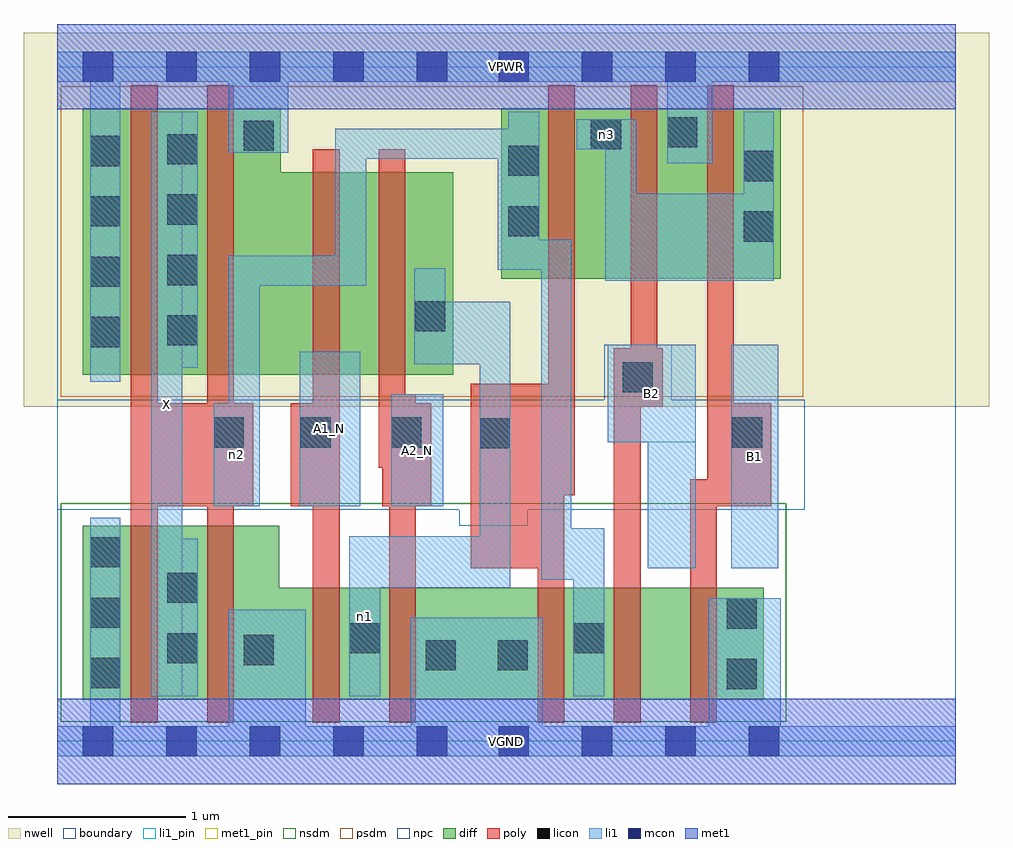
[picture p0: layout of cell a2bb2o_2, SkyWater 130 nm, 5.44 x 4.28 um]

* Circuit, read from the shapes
.subckt a2bb2o_2 A1_N A2_N B1 B2 VGND VPWR X n1 n2 n3
XM1 X n2 VGND VSUBS sky130_fd_pr__nfet_01v8 w=0.98 l=0.15 m=2
XM2 n1 A1_N VGND VSUBS sky130_fd_pr__nfet_01v8 w=0.63 l=0.15
XM3 VGND A2_N n1 VSUBS sky130_fd_pr__nfet_01v8 w=0.63 l=0.15
XM4 n2 n1 VGND VSUBS sky130_fd_pr__nfet_01v8 w=0.63 l=0.15
XM5 n4 B2 n2 VSUBS sky130_fd_pr__nfet_01v8 w=0.63 l=0.15
XM6 VGND B1 n4 VSUBS sky130_fd_pr__nfet_01v8 w=0.63 l=0.15
XM7 X n2 VPWR n5 sky130_fd_pr__pfet_01v8 w=1.5 l=0.15 m=2
XM8 n6 A1_N VPWR n5 sky130_fd_pr__pfet_01v8 w=1.14 l=0.15
XM9 n1 A2_N n6 n5 sky130_fd_pr__pfet_01v8 w=1.14 l=0.15
XM10 n3 n1 n2 n5 sky130_fd_pr__pfet_01v8 w=0.96 l=0.15
XM11 VPWR B2 n3 n5 sky130_fd_pr__pfet_01v8 w=0.96 l=0.15
XM12 n3 B1 VPWR n5 sky130_fd_pr__pfet_01v8 w=0.96 l=0.15
.ends

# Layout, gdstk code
import gdstk
lib = gdstk.Library(unit=1e-6, precision=1e-09)
def R(c, l, rs):  # rectangles x0, y0, x1, y1
    for r in rs: c.add(gdstk.rectangle(r[:2], r[2:], *l))
def A(c, l, x, y, w, h, nx, ny, dx, dy):  # array of equal rectangles
    R(c, l, [(x+i*dx, y+j*dy, x+i*dx+w, y+j*dy+h) for i in range(nx) for j in range(ny)])
nwell = (64, 20)
diff = (65, 20)
poly = (66, 20)
licon = (66, 44)
li1_pin = (67, 16)
li1 = (67, 20)
mcon = (67, 44)
met1_pin = (68, 16)
met1 = (68, 20)
nsdm = (93, 44)
psdm = (94, 20)
npc = (95, 20)
boundary = (235, 4)

a2bb2o_2 = lib.new_cell('a2bb2o_2')
R(a2bb2o_2, nwell, [(-0.19,1.885,5.25,3.99), (0,1.885,5.06,3.99)])
R(a2bb2o_2, diff, [(0.145,0.235,3.98,0.865), (0.145,0.235,1.25,1.215), (0.145,2.065,2.23,3.205), (0.145,2.065,1.26,3.565), (2.5,2.605,4.075,3.565)])
R(a2bb2o_2, poly, [(0.415,0.105,0.565,3.695), (0.845,0.105,0.995,3.695), (1.44,0.105,1.59,3.335), (1.87,0.105,2.02,1.955), (2.705,0.105,2.855,2.015), (3.135,0.105,3.285,2.215), (3.565,0.105,3.715,1.475), (2.33,0.975,2.855,2.015), (0.415,1.325,1.105,1.905), (1.315,1.325,1.59,1.905), (1.83,1.325,2.105,1.905), (3.66,1.325,3.81,3.695), (3.66,1.325,4.02,1.905), (2.765,1.385,2.915,3.695), (1.81,1.54,1.96,3.335), (3.135,1.885,3.41,2.215), (3.23,1.885,3.38,3.695)])
A(a2bb2o_2, licon, 0.185, 0.3, 0.17, 0.17, 1, 3, 0, 0.34)
A(a2bb2o_2, licon, 0.185, 2.22, 0.17, 0.17, 1, 4, 0, 0.34)
A(a2bb2o_2, licon, 0.62, 2.23, 0.17, 0.17, 1, 4, 0, 0.34)
R(a2bb2o_2, licon, [(3.77,0.295,3.94,0.465), (2.075,0.4,2.245,0.57), (2.48,0.4,2.65,0.57), (1.05,0.43,1.22,0.6), (0.62,0.44,0.79,0.61), (1.645,0.495,1.815,0.665), (2.91,0.495,3.08,0.665), (3.77,0.635,3.94,0.805), (0.62,0.78,0.79,0.95), (2.38,1.65,2.55,1.82), (0.88,1.655,1.05,1.825), (1.37,1.655,1.54,1.825), (1.88,1.655,2.05,1.825), (3.8,1.655,3.97,1.825), (3.185,1.965,3.355,2.135), (2.015,2.31,2.185,2.48), (3.865,2.815,4.035,2.985), (2.54,2.845,2.71,3.015), (3.865,3.155,4.035,3.325), (2.54,3.185,2.71,3.355), (1.05,3.325,1.22,3.495), (3.005,3.335,3.175,3.505), (3.435,3.345,3.605,3.515)])
R(a2bb2o_2, li1_pin, [(0.53,0.255,0.705,3.545), (3.795,0.975,4.06,2.235), (1.365,1.325,1.705,2.195), (1.88,1.325,2.175,1.955), (3.1,1.685,3.595,2.235)])
R(a2bb2o_2, li1, [(0,-0.085,5.06,0.085), (0.185,-0.085,0.355,1.26), (0.965,-0.085,1.4,0.74), (1.99,-0.085,2.735,0.695), (3.67,-0.085,4.075,0.805), (0.53,0.255,0.705,3.545), (0.53,0.255,0.79,1.14), (1.645,0.255,1.82,1.155), (2.905,0.255,3.08,1.2), (1.645,0.865,2.55,1.155), (2.38,0.865,2.55,2.475), (2.725,0.91,2.895,2.825), (2.725,0.91,3.08,1.2), (3.325,0.975,3.595,2.235), (3.795,0.975,4.06,2.235), (0.88,1.325,1.14,1.905), (0.965,1.325,1.14,2.735), (1.365,1.325,1.705,2.195), (1.88,1.325,2.175,1.955), (3.1,1.685,3.595,2.235), (0.185,2.025,0.355,3.885), (0.53,2.105,0.79,3.545), (2.01,2.125,2.55,2.475), (2.01,2.125,2.185,2.665), (0.965,2.565,1.74,2.735), (1.565,2.565,1.74,3.45), (3.085,2.595,4.035,3.085), (3.085,2.595,3.26,3.505), (3.865,2.595,4.035,3.545), (2.48,2.655,2.715,3.45), (2.48,2.655,2.895,2.825), (2.54,2.655,2.715,3.545), (3.435,3.255,3.69,3.885), (1.565,3.28,2.715,3.45), (0.965,3.315,1.3,3.885), (2.925,3.335,3.26,3.505), (0,3.715,5.06,3.885)])
A(a2bb2o_2, mcon, 0.145, -0.085, 0.17, 0.17, 5, 2, 0.47, 3.8)
A(a2bb2o_2, mcon, 2.485, -0.085, 0.17, 0.17, 4, 2, 0.47, 3.8)
R(a2bb2o_2, met1_pin, [(0,-0.24,5.06,0.24), (0,3.56,5.06,4.04)])
R(a2bb2o_2, met1, [(0,-0.24,5.06,0.24), (0,3.56,5.06,4.04)])
R(a2bb2o_2, nsdm, [(0.02,0.11,4.105,1.34)])
R(a2bb2o_2, psdm, [(0.02,1.94,4.2,3.69)])
R(a2bb2o_2, npc, [(2.265,1.215,2.65,1.925), (0,1.305,4.21,1.925), (3.08,1.305,3.46,2.235)])
R(a2bb2o_2, boundary, [(0,0,5.06,3.8)])
a2bb2o_2.add(gdstk.Label('A1_N', (1.535,1.76), layer=67, texttype=5))
a2bb2o_2.add(gdstk.Label('A2_N', (2.027,1.64), layer=67, texttype=5))
a2bb2o_2.add(gdstk.Label('B1', (3.927,1.605), layer=67, texttype=5))
a2bb2o_2.add(gdstk.Label('B2', (3.347,1.96), layer=67, texttype=5))
a2bb2o_2.add(gdstk.Label('X', (0.617,1.9), layer=67, texttype=5))
a2bb2o_2.add(gdstk.Label('n1', (1.732,0.705), layer=67, texttype=5))
a2bb2o_2.add(gdstk.Label('n2', (1.01,1.615), layer=67, texttype=5))
a2bb2o_2.add(gdstk.Label('n3', (3.092,3.42), layer=67, texttype=5))
a2bb2o_2.add(gdstk.Label('VPWR', (2.53,3.8), layer=68, texttype=5))
a2bb2o_2.add(gdstk.Label('VGND', (2.53,0), layer=68, texttype=5))
a2bb2o_2.add(gdstk.Label('A1_N', (1.535,1.76), layer=67, texttype=16))
a2bb2o_2.add(gdstk.Label('A2_N', (2.027,1.64), layer=67, texttype=16))
a2bb2o_2.add(gdstk.Label('B1', (3.927,1.605), layer=67, texttype=16))
a2bb2o_2.add(gdstk.Label('B2', (3.347,1.96), layer=67, texttype=16))
a2bb2o_2.add(gdstk.Label('X', (0.617,1.9), layer=67, texttype=16))
a2bb2o_2.add(gdstk.Label('VPWR', (2.53,3.8), layer=68, texttype=16))
a2bb2o_2.add(gdstk.Label('VGND', (2.53,0), layer=68, texttype=16))

lib.write_gds('a2bb2o_2.gds')
